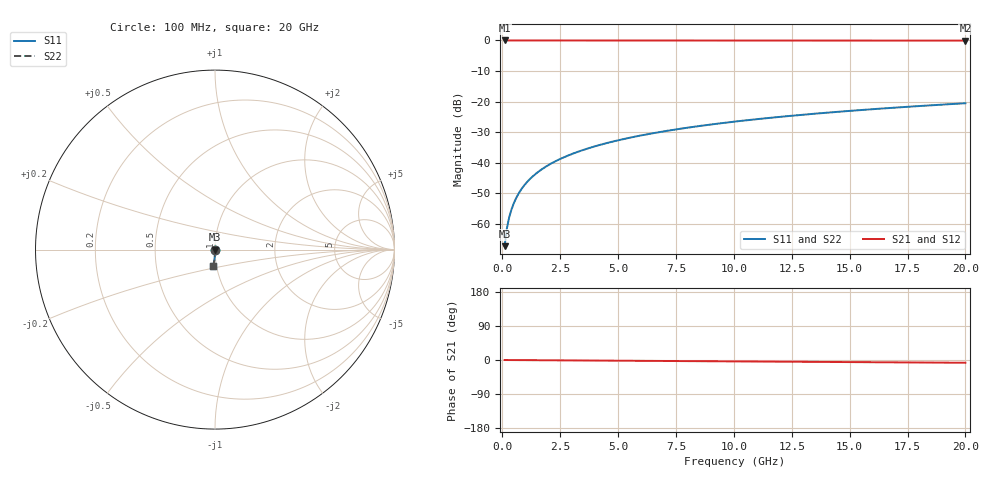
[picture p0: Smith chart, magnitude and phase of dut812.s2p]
! Touchstone file exported from HFSS 2026.1.0
!  File:  C:/ffzhzh/LocalFiles/Ansys_Project_Files/temp_train_TSV_812_1783184322_18472.aedt
!  Generated:  01:00:03 AM Jul  5, 2026
!  Design:  TSV
!  Project:  temp_train_TSV_812_1783184322_18472
! Variables:
!  h_bsmrdl = 2um
!  h_ox = 20um
!  h_rdl = 5um
!  h_sub = 51.76um
!  h_tmrdl = 5um
!  h_tsv = 51.76um
!  h_via = 3um
!  l_bsmrdl = 300um
!  l_sub = 421.64um
!  l_tmrdl = 200um
!  m_sub = 200um
!  pitch = 24.4um
!  r_tsv = 10.82um
!  s_tmrdl = 10um
!  w_bsmrdl = 18um
!  w_sub = 500um
!  w_tmrdl = 12um
!  x_tsv_center1 = 206um
!  x_tsv_center2 = 524um
!  x_tsv_center3 = 736um
!  x_tsv_center4 = 1054um
!  x_tsv_center5 = 1266um
!  x_tsv_center6 = 1584um
# GHz S MA R 50.000000
! Terminal data exported
! Port[1] = TSV1_1_T1
! Port[2] = TSV1_1_T2
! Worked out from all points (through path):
!   200 points, 100 MHz to 20 GHz, reference 50 ohm
!   highest |S21| = 0.00 dB at 100 MHz (marker M1); lowest = -0.1 dB at 20 GHz (marker M2)
!   group delay of S21, straight-line fit = 1.01 ps
!   lowest |S11| = -67.2 dB at 100 MHz (marker M3), VSWR 1.00, Z = 50 - j0.0423 ohm
!   |S11| at or under -10 dB: start of sweep to end of sweep
!   |S22| runs from -67.2 to -20.5 dB; largest |S21 - S12| = 8.1e-15
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0.1  0.0004341 -76.8  0.9999 -0.0  0.9999 -0.0  0.0004341 -76.8
! Gamma 0 0 0 0
! Port Impedance 50 0 50 0
0.2  0.000859 -82.2  0.9999 -0.1  0.9999 -0.1  0.000859 -82.2
0.3  0.001296 -83.8  0.9999 -0.1  0.9999 -0.1  0.001296 -83.8
0.4  0.001743 -84.5  0.9998 -0.2  0.9998 -0.2  0.001743 -84.5
0.5  0.002198 -85.0  0.9998 -0.2  0.9998 -0.2  0.002198 -85.0
0.7  0.003123 -85.7  0.9997 -0.3  0.9997 -0.3  0.003123 -85.7
0.8  0.00359 -86.1  0.9997 -0.3  0.9997 -0.3  0.00359 -86.1
1  0.004528 -86.6  0.9997 -0.4  0.9997 -0.4  0.004528 -86.6
1.2  0.005466 -87.1  0.9997 -0.5  0.9997 -0.5  0.005466 -87.1
1.4  0.006405 -87.4  0.9996 -0.5  0.9996 -0.5  0.006405 -87.4
1.7  0.007812 -87.9  0.9996 -0.6  0.9996 -0.6  0.007812 -87.9
2  0.009219 -88.3  0.9996 -0.7  0.9996 -0.7  0.009219 -88.3
2.7  0.0125 -88.9  0.9995 -1.0  0.9995 -1.0  0.0125 -88.9
3.5  0.01626 -89.5  0.9994 -1.3  0.9994 -1.3  0.01626 -89.5
4.2  0.01956 -89.9  0.9992 -1.6  0.9992 -1.6  0.01956 -89.9
5  0.02333 -90.3  0.9991 -1.8  0.9991 -1.8  0.02333 -90.3
6.8  0.03184 -91.2  0.9988 -2.5  0.9988 -2.5  0.03184 -91.2
8.3  0.03894 -91.8  0.9984 -3.1  0.9984 -3.1  0.03894 -91.8
10.1  0.04746 -92.6  0.998 -3.7  0.998 -3.7  0.04746 -92.6
13.4  0.06305 -94.0  0.997 -4.9  0.997 -4.9  0.06305 -94.0
16.7  0.0786 -95.2  0.9957 -6.1  0.9957 -6.1  0.0786 -95.2
20  0.0941 -96.5  0.9942 -7.3  0.9942 -7.3  0.0941 -96.5
